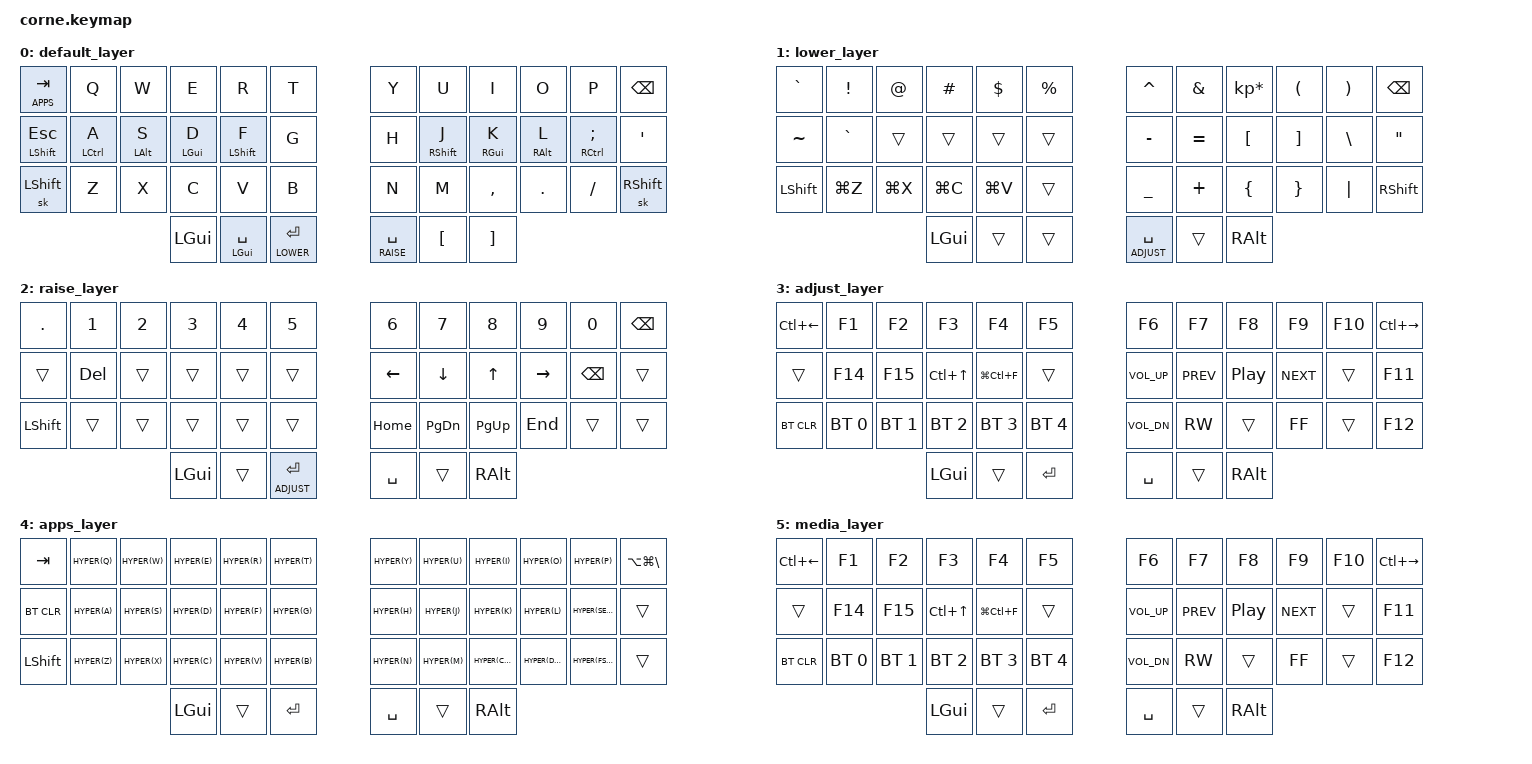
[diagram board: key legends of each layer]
/*
 * Copyright (c) 2020 The ZMK Contributors
 *
 * SPDX-License-Identifier: MIT
 */

#include <behaviors.dtsi>
#include <dt-bindings/zmk/keys.h>
#include <dt-bindings/zmk/bt.h>

#define CONFIG_ZMK_KEYBOARD_NAME "Jorne v3.0"
#define CONFIG_USB_DEVICE_MANUFACTURER "Jon Arrien"
#define CONFIG_BT_MAX_CONN 5
#define CONFIG_BT_MAX_PAIRED 5

#define TAPPING_TERM 200
#define COMBO_TIMEOUT 40

// Layers
#define DEFAULT 0
#define LOWER   1
#define RAISE   2
#define ADJUST  3
#define APPS    4
#define MEDIA   5

// Applications
#define HYPER(key)  LS(LC(LA(LG(key))))
#define ONEPASS     LA(LG(BSLH))

// macOS
#define MISCTRL     LC(UP)
#define FULLSCR     LG(LC(F))
#define UNDO        LG(Z)
#define CUT         LG(X)
#define COPY        LG(C)
#define PASTE       LG(V)
#define SP_LEFT     LC(LEFT)
#define SP_RIGHT    LC(RIGHT)

/ {
        behaviors {
            hm: homerow_mods {
                compatible = "zmk,behavior-hold-tap";
                label = "HOMEROW_MODS";
                #binding-cells = <2>;
                tapping-term-ms = <150>;
                quick-tap-ms = <150>;
                flavor = "tap-preferred";
                bindings = <&kp>, <&kp>;
            };
            skq: sticky_key_quick_release {
                compatible = "zmk,behavior-sticky-key";
                label = "STICKY_KEY_QUICK_RELEASE";
                #binding-cells = <1>;
                bindings = <&kp>;
                release-after-ms = <1000>;
                quick-release;
                ignore-modifiers;
            };
        };

        keymap {
                compatible = "zmk,keymap";

                default_layer {
                        bindings = <
// -----------+-------------+-------------+-------------+-------------+-------------|                              |-------------+-------------+-------------+-------------+------------+-------------|
  &lt APPS TAB  &kp Q         &kp W         &kp E         &kp R         &kp T                                        &kp Y         &kp U         &kp I         &kp O         &kp P        &kp BSPC
// -----------+-------------+-------------+-------------+-------------+-------------|                              |-------------+-------------+-------------+-------------+------------+-------------|
&mt LSHIFT ESC  &hm LCTRL A   &hm LALT S    &hm LGUI D    &hm LSHIFT F  &kp G                                        &kp H         &hm RSHIFT J  &hm RGUI K    &hm RALT L   &hm RCTRL SEMI &kp SQT
// -----------+-------------+-------------+-------------+-------------+-------------|                              |-------------+-------------+-------------+-------------+------------+-------------|
    &sk LSHFT   &kp Z         &kp X         &kp C         &kp V         &kp B                                        &kp N         &kp M         &kp COMMA     &kp DOT       &kp FSLH     &sk RSHIFT
// -----------+-------------+-------------+-------------+-------------+-------------+-------------|  |-------------+-------------+-------------+-------------+-------------+------------+-------------|
                                                          &kp LGUI    &mt LGUI SPACE &lt LOWER RET   &lt RAISE SPACE &kp LBKT     &kp RBKT
                                                     // ------------------------------------------|  |-----------------------------------------'
                        >;
                };
                lower_layer {
                        bindings = <
// -----------+-------------+-------------+-------------+-------------+-------------|                              |-------------+-------------+-------------+-------------+------------+-------------|
   &kp GRAVE    &kp EXCL      &kp AT        &kp HASH      &kp DLLR      &kp PRCNT                                    &kp CARET     &kp AMPS    &kp KP_MULTIPLY &kp LPAR      &kp RPAR     &kp BSPC
// -----------+-------------+-------------+-------------+-------------+-------------|                              |-------------+-------------+-------------+-------------+------------+-------------|
   &kp TILDE    &kp GRAVE     &trans        &trans        &trans        &trans                                       &kp MINUS     &kp EQUAL     &kp LBKT      &kp RBKT      &kp BSLH     &kp DQT
// -----------+-------------+-------------+-------------+-------------+-------------|                              |-------------+-------------+-------------+-------------+------------+-------------|
   &kp LSHFT    &kp UNDO      &kp CUT       &kp COPY      &kp PASTE     &trans                                       &kp UNDER     &kp PLUS      &kp LBRC      &kp RBRC      &kp PIPE     &kp RSHIFT
// -----------+-------------+-------------+-------------+-------------+-------------+-------------|  |-------------+-------------+-------------+-------------+-------------+------------+-------------|
                                                            &kp LGUI      &trans        &trans        &lt ADJUST SPACE  &trans      &kp RALT
                                                     // ------------------------------------------|  |-----------------------------------------'
                        >;
                };

                raise_layer {
                        bindings = <
// -----------+-------------+-------------+-------------+-------------+-------------|                              |-------------+-------------+-------------+-------------+------------+-------------|
   &kp DOT      &kp N1        &kp N2        &kp N3        &kp N4        &kp N5                                       &kp N6        &kp N7        &kp N8        &kp N9        &kp N0       &kp BSPC
// -----------+-------------+-------------+-------------+-------------+-------------|                              |-------------+-------------+-------------+-------------+------------+-------------|
   &trans       &kp DEL       &trans        &trans        &trans        &trans                                       &kp LEFT      &kp DOWN      &kp UP        &kp RIGHT     &kp BSPC     &trans
// -----------+-------------+-------------+-------------+-------------+-------------|                              |-------------+-------------+-------------+-------------+------------+-------------|
   &kp LSHFT    &trans        &trans        &trans        &trans        &trans                                       &kp HOME      &kp PG_DN     &kp PG_UP     &kp END       &trans       &trans
// -----------+-------------+-------------+-------------+-------------+-------------+-------------|  |-------------+-------------+-------------+-------------+-------------+------------+-------------|
                                                          &kp LGUI      &trans       &lt ADJUST RET    &kp SPACE     &trans        &kp RALT
                                                     // ------------------------------------------|  |-----------------------------------------'
                        >;
                };

                adjust_layer {
                        bindings = <
// -----------+-------------+-------------+-------------+-------------+-------------|                              |-------------+-------------+-------------+-------------+------------+-------------|
   &kp SP_LEFT  &kp F1        &kp F2        &kp F3        &kp F4        &kp F5                                       &kp F6        &kp F7        &kp F8        &kp F9        &kp F10      &kp SP_RIGHT
// -----------+-------------+-------------+-------------+-------------+-------------|                              |-------------+-------------+-------------+-------------+------------+-------------|
   &trans       &kp F14       &kp F15       &kp MISCTRL   &kp FULLSCR   &trans                                       &kp C_VOL_UP  &kp C_PREV    &kp C_PP      &kp C_NEXT    &trans       &kp F11
// -----------+-------------+-------------+-------------+-------------+-------------|                              |-------------+-------------+-------------+-------------+------------+-------------|
   &bt BT_CLR   &bt BT_SEL 0  &bt BT_SEL 1  &bt BT_SEL 2  &bt BT_SEL 3  &bt BT_SEL 4                                 &kp C_VOL_DN  &kp C_RW      &trans        &kp C_FF      &trans       &kp F12
// -----------+-------------+-------------+-------------+-------------+-------------+-------------|  |-------------+-------------+-------------+-------------+-------------+------------+-------------|
                                                          &kp LGUI      &trans        &kp RET          &kp SPACE     &trans        &kp RALT
                                                     // ------------------------------------------|  |-----------------------------------------'
                        >;
                };

                apps_layer {
                        bindings = <
// -----------+-------------+-------------+-------------+-------------+-------------|                              |-------------+-------------+-------------+-------------+------------+-------------|
   &kp TAB      &kp HYPER(Q)  &kp HYPER(W)  &kp HYPER(E)  &kp HYPER(R)  &kp HYPER(T)                                 &kp HYPER(Y)  &kp HYPER(U)  &kp HYPER(I)  &kp HYPER(O)  &kp HYPER(P) &kp ONEPASS
// -----------+-------------+-------------+-------------+-------------+-------------|                              |-------------+-------------+-------------+-------------+------------+-------------|
   &bt BT_CLR   &kp HYPER(A)  &kp HYPER(S)  &kp HYPER(D)  &kp HYPER(F)  &kp HYPER(G)                                 &kp HYPER(H)  &kp HYPER(J)  &kp HYPER(K)  &kp HYPER(L) &kp HYPER(SEMI) &trans
// -----------+-------------+-------------+-------------+-------------+-------------|                              |-------------+-------------+-------------+-------------+------------+-------------|
   &kp LSHFT    &kp HYPER(Z)  &kp HYPER(X)  &kp HYPER(C)  &kp HYPER(V)  &kp HYPER(B)                                 &kp HYPER(N)  &kp HYPER(M) &kp HYPER(COMMA) &kp HYPER(DOT) &kp HYPER(FSLH) &trans
// -----------+-------------+-------------+-------------+-------------+-------------+-------------|  |-------------+-------------+-------------+-------------+-------------+------------+-------------|
                                                          &kp LGUI      &trans        &kp RET          &kp SPACE     &trans        &kp RALT
                                                     // ------------------------------------------|  |-----------------------------------------'
                        >;
                };

                media_layer {
                        bindings = <
// -----------+-------------+-------------+-------------+-------------+-------------|                              |-------------+-------------+-------------+-------------+------------+-------------|
   &kp SP_LEFT  &kp F1        &kp F2        &kp F3        &kp F4        &kp F5                                       &kp F6        &kp F7        &kp F8        &kp F9        &kp F10      &kp SP_RIGHT
// -----------+-------------+-------------+-------------+-------------+-------------|                              |-------------+-------------+-------------+-------------+------------+-------------|
   &trans       &kp F14       &kp F15       &kp MISCTRL   &kp FULLSCR   &trans                                       &kp C_VOL_UP  &kp C_PREV    &kp C_PP      &kp C_NEXT    &trans       &kp F11
// -----------+-------------+-------------+-------------+-------------+-------------|                              |-------------+-------------+-------------+-------------+------------+-------------|
   &bt BT_CLR   &bt BT_SEL 0  &bt BT_SEL 1  &bt BT_SEL 2  &bt BT_SEL 3  &bt BT_SEL 4                                 &kp C_VOL_DN  &kp C_RW      &trans        &kp C_FF      &trans       &kp F12
// -----------+-------------+-------------+-------------+-------------+-------------+-------------|  |-------------+-------------+-------------+-------------+-------------+------------+-------------|
                                                          &kp LGUI      &trans        &kp RET          &kp SPACE     &trans        &kp RALT
                                                     // ------------------------------------------|  |-----------------------------------------'
                        >;
                };
        };
};
